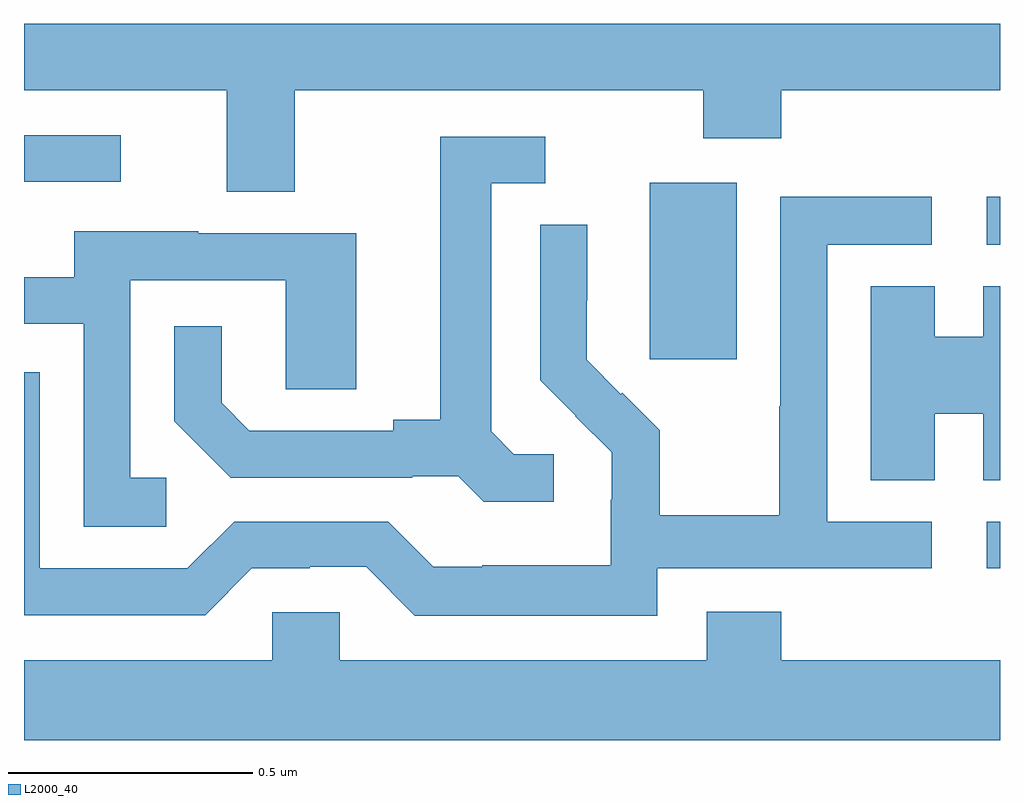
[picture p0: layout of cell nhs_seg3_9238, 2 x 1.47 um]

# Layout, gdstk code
import gdstk
lib = gdstk.Library(unit=1e-6, precision=1e-09)
def R(c, l, rs):  # rectangles x0, y0, x1, y1
    for r in rs: c.add(gdstk.rectangle(r[:2], r[2:], *l))
def P(c, l, *ps):  # polygons
    for p in ps: c.add(gdstk.Polygon(p, *l))
L2000_40 = (2000, 40)

nhs_seg3_9238 = lib.new_cell('nhs_seg3_9238')
R(nhs_seg3_9238, L2000_40, [(227.973,685.284,228,685.38), (227.282,685.713,227.461,686.074), (227.973,685.947,228,686.046), (226,686.076,226.198,686.172)])
P(nhs_seg3_9238, L2000_40, [(226.555,686.264),(227.392,686.264),(227.392,686.165),(227.552,686.165),(227.552,686.264),(228,686.264),(228,686.4),(226,686.4),(226,686.264),(226.415,686.264),(226.415,686.056),(226.555,686.056)],
  [(227.086,685.518),(227.004,685.518),(226.957,685.565),(226.957,686.073),(227.068,686.073),(227.068,686.169),(226.853,686.169),(226.853,685.589),(226.757,685.589),(226.757,685.566),(226.462,685.566),(226.405,685.623),(226.405,685.78),(226.308,685.78),(226.308,685.586),(226.424,685.47),(226.796,685.47),(226.796,685.473),(226.89,685.473),(226.942,685.421),(227.086,685.421)],
  [(227.298,685.284),(227.86,685.284),(227.86,685.38),(227.646,685.38),(227.646,685.947),(227.86,685.947),(227.86,686.046),(227.55,686.046),(227.55,685.616),(227.548,685.616),(227.548,685.393),(227.303,685.393),(227.303,685.567),(227.226,685.644),(227.223,685.641),(227.153,685.712),(227.153,685.834),(227.154,685.834),(227.154,685.988),(227.058,685.988),(227.058,685.67),(227.131,685.597),(227.13,685.596),(227.204,685.522),(227.204,685.425),(227.202,685.425),(227.202,685.291),(226.939,685.291),(226.939,685.287),(226.839,685.287),(226.746,685.38),(226.431,685.38),(226.335,685.284),(226.032,685.284),(226.032,685.686),(226,685.686),(226,685.188),(226.371,685.188),(226.467,685.284),(226.586,685.284),(226.586,685.287),(226.701,685.287),(226.801,685.187),(227.298,685.187)],
  [(226.291,685.47),(226.218,685.47),(226.218,685.875),(226.536,685.875),(226.536,685.651),(226.681,685.651),(226.681,685.971),(226.357,685.971),(226.357,685.975),(226.103,685.975),(226.103,685.881),(226,685.881),(226,685.785),(226.122,685.785),(226.122,685.369),(226.291,685.369)],
  [(227.866,685.601),(227.966,685.601),(227.966,685.465),(228,685.465),(228,685.862),(227.966,685.862),(227.966,685.759),(227.866,685.759),(227.866,685.862),(227.735,685.862),(227.735,685.465),(227.866,685.465)],
  [(228,685.096),(227.552,685.096),(227.552,685.195),(227.399,685.195),(227.399,685.096),(226.647,685.096),(226.647,685.194),(226.509,685.194),(226.509,685.096),(226,685.096),(226,684.932),(228,684.932)])

lib.write_gds('nhs_seg3_9238.gds')
